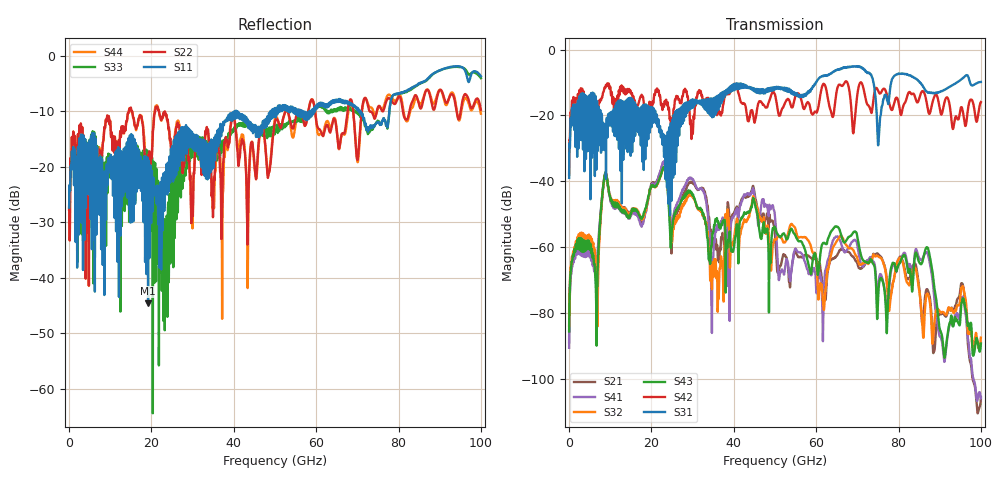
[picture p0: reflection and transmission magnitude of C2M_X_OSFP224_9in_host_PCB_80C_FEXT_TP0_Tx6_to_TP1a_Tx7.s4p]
# GHz S RI R 45
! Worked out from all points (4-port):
!   4000 points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, 25 MHz to 100 GHz, reference 45 ohm
!   strongest paths, dB at 25 MHz, 25.02 GHz, 50.02 GHz, 75.03 GHz, 100 GHz:
!     S31: -39.0, -22.4, -11.4, -28.9, -9.8
!     S42: -38.0, -22.6, -13.7, -12.5, -15.9
!     S43: -85.5, -54.5, -54.1, -75.5, -89.2
!     S32: -83.9, -58.4, -57.6, -62.7, -87.4
!     S41: -90.5, -53.5, -51.0, -73.5, -105.9
!     S21: -88.9, -57.5, -56.4, -62.0, -105.6
!   lowest |S11| = -44.5 dB at 19.2 GHz (marker M1), VSWR 1.01, Z = 45.2 + j0.483 ohm
!   |S11| at or under -10 dB: start of sweep to 40.16 GHz; 40.94 GHz to 48.9 GHz (7.961 GHz wide, 17.7 % of centre); 70.6 GHz to 77.76 GHz (7.16 GHz wide, 9.65 % of centre)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
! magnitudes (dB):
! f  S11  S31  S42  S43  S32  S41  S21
! 25 MHz  -27.3  -39.0  -38.0  -85.5  -83.9  -90.5  -88.9
! 6.625 GHz  -32.2  -36.5  -19.5  -79.8  -65.5  -66.4  -69.1
! 8.775 GHz  -20.8  -22.8  -11.7  -37.5  -37.8  -37.8  -37.9
! 19.2 GHz  -44.5  -24.6  -17.7  -44.9  -45.3  -45.5  -45.3
! 36.17 GHz  -16.1  -17.0  -19.1  -52.3  -74.2  -53.6  -63.9
! 44.9 GHz  -12.5  -11.7  -21.4  -45.7  -45.0  -43.3  -42.5
! 100 GHz  -3.6  -9.8  -15.9  -89.2  -87.4  -105.9  -105.6
